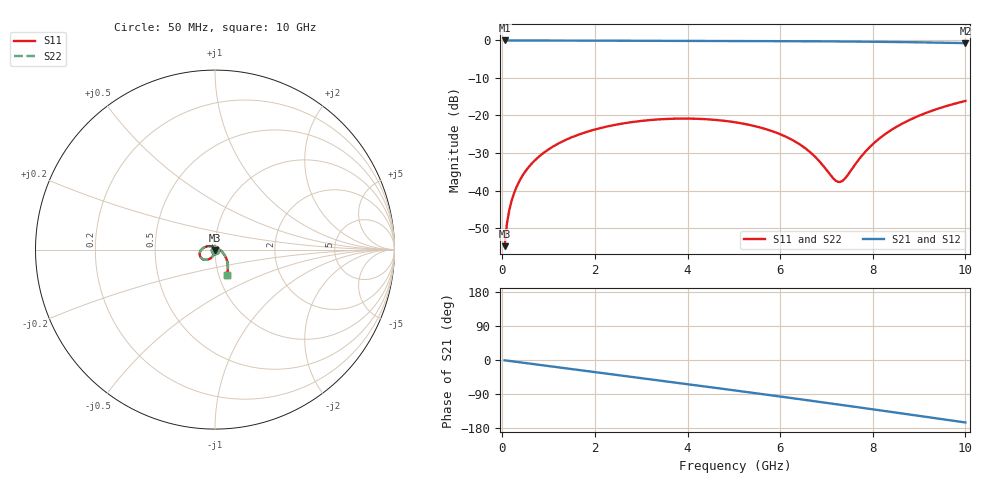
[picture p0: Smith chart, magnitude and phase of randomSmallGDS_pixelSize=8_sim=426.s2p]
! freq	dB(S11)	phase(S11)	dB(S12)	phase(S12)
!  dB(S21)	phase(S21)	dB(S22)	phase(S22)
!S-par simulation data
#  GHz  S  DB  R 50
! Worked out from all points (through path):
!   200 points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, 50 MHz to 10 GHz, reference 50 ohm
!   highest |S21| = 0.00 dB at 50 MHz (marker M1); lowest = -0.7 dB at 10 GHz (marker M2)
!   group delay of S21, straight-line fit = 45.6 ps
!   lowest |S11| = -54.8 dB at 50 MHz (marker M3), VSWR 1.00, Z = 50 - j0.181 ohm
!   |S11| at or under -10 dB: start of sweep to end of sweep
!   |S22| runs from -54.8 to -16.1 dB; largest |S21 - S12| = 0
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0.05  -54.83 -90.4  -0.00 -0.8  -0.00 -0.8  -54.83 -90.4
0.1  -48.81 -91.6  -0.00 -1.6  -0.00 -1.6  -48.81 -91.6
0.2  -42.79 -93.6  -0.01 -3.2  -0.01 -3.2  -42.79 -93.6
0.35  -37.94 -96.3  -0.01 -5.6  -0.01 -5.6  -37.94 -96.3
0.5  -34.87 -98.8  -0.01 -8.0  -0.01 -8.0  -34.87 -98.8
0.7  -32.00 -102.2  -0.01 -11.2  -0.01 -11.2  -32.00 -102.2
1  -29.02 -107.1  -0.02 -16.0  -0.02 -16.0  -29.02 -107.1
1.75  -24.66 -119.4  -0.04 -27.9  -0.04 -27.9  -24.66 -119.4
2.5  -22.35 -131.6  -0.07 -39.8  -0.07 -39.8  -22.35 -131.6
3.4  -21.02 -146.4  -0.09 -54.2  -0.09 -54.2  -21.02 -146.4
4.25  -20.90 -160.8  -0.12 -67.8  -0.12 -67.8  -20.90 -160.8
5.05  -21.85 -175.3  -0.15 -80.7  -0.15 -80.7  -21.85 -175.3
6  -24.98 164.6  -0.18 -96.3  -0.18 -96.3  -24.98 164.7
6.4  -27.51 153.3  -0.20 -103.0  -0.20 -103.0  -27.52 153.3
6.7  -30.35 140.8  -0.22 -108.0  -0.22 -108.0  -30.36 140.9
7.15  -36.81 94.6  -0.25 -115.6  -0.25 -115.6  -36.83 94.6
7.3  -37.71 60.5  -0.27 -118.2  -0.27 -118.2  -37.73 60.5
7.4  -36.80 37.9  -0.28 -119.9  -0.28 -119.9  -36.82 37.9
7.9  -28.85 -13.3  -0.33 -128.4  -0.33 -128.4  -28.85 -13.3
8.35  -24.27 -29.8  -0.39 -136.2  -0.39 -136.2  -24.27 -29.9
9.05  -19.80 -46.8  -0.51 -148.3  -0.51 -148.3  -19.80 -46.9
10  -16.13 -65.5  -0.71 -164.8  -0.71 -164.8  -16.13 -65.5
